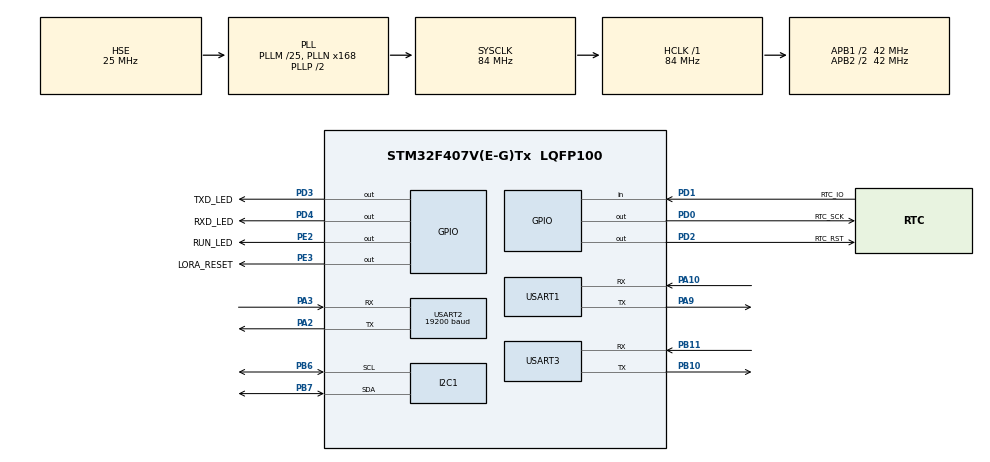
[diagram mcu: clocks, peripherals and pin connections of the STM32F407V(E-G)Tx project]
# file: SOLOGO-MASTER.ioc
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Dma.Request0=USART3_RX
Dma.USART3_RX.0.Direction=DMA_PERIPH_TO_MEMORY
Dma.USART3_RX.0.FIFOMode=DMA_FIFOMODE_DISABLE
Dma.USART3_RX.0.Instance=DMA1_Stream1
Dma.USART3_RX.0.MemDataAlignment=DMA_MDATAALIGN_BYTE
Dma.USART3_RX.0.MemInc=DMA_MINC_ENABLE
Dma.USART3_RX.0.Mode=DMA_CIRCULAR
Dma.USART3_RX.0.PeriphDataAlignment=DMA_PDATAALIGN_BYTE
Dma.USART3_RX.0.PeriphInc=DMA_PINC_DISABLE
Dma.USART3_RX.0.Priority=DMA_PRIORITY_MEDIUM
IWDG.Prescaler=IWDG_PRESCALER_32
Mcu.Family=STM32F4
Mcu.Name=STM32F407V(E-G)Tx
Mcu.Package=LQFP100
NVIC.DMA1_Stream1_IRQn=true\:0\:0\:false\:false\:true\:false\:true\:true
NVIC.PriorityGroup=NVIC_PRIORITYGROUP_4
NVIC.TIM3_IRQn=true\:0\:0\:true\:false\:true\:true\:true\:true
NVIC.USART1_IRQn=true\:0\:0\:false\:false\:true\:true\:true\:true
NVIC.USART2_IRQn=true\:0\:0\:false\:false\:true\:true\:true\:true
PA10.Mode=Asynchronous
PA10.Signal=USART1_RX
PA13.Signal=SYS_JTMS-SWDIO
PA14.Signal=SYS_JTCK-SWCLK
PA2.Mode=Asynchronous
PA2.Signal=USART2_TX
PA3.Mode=Asynchronous
PA3.Signal=USART2_RX
PA9.Mode=Asynchronous
PA9.Signal=USART1_TX
PB10.Mode=Asynchronous
PB10.Signal=USART3_TX
PB11.Mode=Asynchronous
PB11.Signal=USART3_RX
PB6.Mode=I2C
PB6.Signal=I2C1_SCL
PB7.Mode=I2C
PB7.Signal=I2C1_SDA
PD0.GPIO_Label=RTC_SCK
PD0.Signal=GPIO_Output
PD1.GPIO_Label=RTC_IO
PD1.Signal=GPIO_Input
PD2.GPIO_Label=RTC_RST
PD2.Signal=GPIO_Output
PD3.GPIO_Label=TXD_LED
PD3.Signal=GPIO_Output
PD4.GPIO_Label=RXD_LED
PD4.Signal=GPIO_Output
PE2.GPIO_Label=RUN_LED
PE2.Signal=GPIO_Output
PE3.GPIO_Label=LORA_RESET
PE3.Signal=GPIO_Output
PH0-OSC_IN.Mode=HSE-External-Oscillator
PH0-OSC_IN.Signal=RCC_OSC_IN
PH1-OSC_OUT.Mode=HSE-External-Oscillator
PH1-OSC_OUT.Signal=RCC_OSC_OUT
ProjectManager.HeapSize=0x200
ProjectManager.StackSize=0x400
ProjectManager.TargetToolchain=STM32CubeIDE
RCC.48MHZClocksFreq_Value=42000000
RCC.AHBFreq_Value=84000000
RCC.APB1CLKDivider=RCC_HCLK_DIV2
RCC.APB1Freq_Value=42000000
RCC.APB1TimFreq_Value=84000000
RCC.APB2CLKDivider=RCC_HCLK_DIV2
RCC.APB2Freq_Value=42000000
RCC.APB2TimFreq_Value=84000000
RCC.CortexFreq_Value=84000000
RCC.HCLKFreq_Value=84000000
RCC.HSE_VALUE=25000000
RCC.HSI_VALUE=16000000
RCC.LSE_VALUE=32768
RCC.PLLM=25
RCC.PLLN=168
RCC.PLLSourceVirtual=RCC_PLLSOURCE_HSE
RCC.SYSCLKFreq_VALUE=84000000
RCC.SYSCLKSource=RCC_SYSCLKSOURCE_PLLCLK
RCC.VCOOutputFreq_Value=168000000
TIM3.AutoReloadPreload=TIM_AUTORELOAD_PRELOAD_ENABLE
TIM3.Period=1000
TIM3.Prescaler=84-1
USART1.VirtualMode=VM_ASYNC
USART2.BaudRate=19200
USART2.VirtualMode=VM_ASYNC
USART3.VirtualMode=VM_ASYNC
VP_IWDG_VS_IWDG.Mode=IWDG_Activate
VP_TIM3_VS_ClockSourceINT.Mode=Internal
board=custom

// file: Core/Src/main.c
/* USER CODE BEGIN Header */
/**
  ******************************************************************************
  * @file           : main.c
  * @brief          : Main program body
  ******************************************************************************
  * @attention
  *
  * Copyright (c) 2023 STMicroelectronics.
  * All rights reserved.
  *
  * This software is licensed under terms that can be found in the LICENSE file
  * in the root directory of this software component.
  * If no LICENSE file comes with this software, it is provided AS-IS.
  *
  ******************************************************************************
  */
/* USER CODE END Header */
#include "main.h"

I2C_HandleTypeDef hi2c1;

IWDG_HandleTypeDef hiwdg;

TIM_HandleTypeDef htim3;

UART_HandleTypeDef huart1;
UART_HandleTypeDef huart2;
UART_HandleTypeDef huart3;
DMA_HandleTypeDef hdma_usart3_rx;

/* USER CODE BEGIN PV */
uint32_t systemTick = 0;
volatile uint32_t SYSTICK_Chk[SYSTICK_NUM_INT];
extern uint8_t rx_dma_buf[LINE_BUFFER_MAX];
//extern MODBUS modbus;

/* USER CODE END PV */

void SystemClock_Config(void);
static void MX_GPIO_Init(void);
static void MX_DMA_Init(void);
static void MX_USART1_UART_Init(void);
static void MX_USART3_UART_Init(void);
static void MX_IWDG_Init(void);
static void MX_I2C1_Init(void);
static void MX_USART2_UART_Init(void);
static void MX_TIM3_Init(void);

/* USER CODE BEGIN 0 */
uint32_t microGetSystemTime(void);
void BSP_Init(void);

/* USER CODE END 0 */

int main(void)
{

  /* MCU Configuration--------------------------------------------------------*/

  /* Reset of all peripherals, Initializes the Flash interface and the Systick. */
  HAL_Init();

  /* Configure the system clock */
  SystemClock_Config();

  /* Initialize all configured peripherals */
  MX_GPIO_Init();
  MX_DMA_Init();
  MX_USART1_UART_Init();
  MX_USART3_UART_Init();
  MX_IWDG_Init();
  MX_I2C1_Init();
  MX_USART2_UART_Init();
  MX_TIM3_Init();
  /* USER CODE BEGIN 2 */

	if(__HAL_RCC_GET_FLAG(RCC_FLAG_IWDGRST) == SET) {
		Printf_("Watch dog reset\r\n");

		__HAL_RCC_CLEAR_RESET_FLAGS();
	}
	else	 {
	  Printf_("Power on reset\r\n");
	}

	__HAL_UART_ENABLE_IT(&huart1, UART_IT_RXNE);
	__HAL_UART_ENABLE_IT(&huart2, UART_IT_RXNE);
	//__HAL_UART_ENABLE_IT(&huart3, UART_IT_RXNE);
	//__HAL_UART_ENABLE_IT(&huart3, UART_IT_IDLE);
	HAL_UART_Receive_DMA(&huart3, rx_dma_buf, LINE_BUFFER_MAX);

	HAL_TIM_Base_Start_IT(&htim3);

	BSP_Init();

  /* USER CODE END 2 */

  /* Infinite loop */
  /* USER CODE BEGIN WHILE */
  while (1)
  {
		HAL_IWDG_Refresh(&hiwdg);

		applicationTick();
		Terminal_Services_Function();
		LORA_ServiceFunction();
		Modbus_Event();
		UART_RX_DMA_Handler();

    /* USER CODE END WHILE */

  }
}

void SystemClock_Config(void)
{
  RCC_OscInitTypeDef RCC_OscInitStruct = {0};
  RCC_ClkInitTypeDef RCC_ClkInitStruct = {0};

  /** Configure the main internal regulator output voltage
  */
  __HAL_RCC_PWR_CLK_ENABLE();
  __HAL_PWR_VOLTAGESCALING_CONFIG(PWR_REGULATOR_VOLTAGE_SCALE1);

  /** Initializes the RCC Oscillators according to the specified parameters
  * in the RCC_OscInitTypeDef structure.
  */
  RCC_OscInitStruct.OscillatorType = RCC_OSCILLATORTYPE_LSI|RCC_OSCILLATORTYPE_HSE;
  RCC_OscInitStruct.HSEState = RCC_HSE_ON;
  RCC_OscInitStruct.LSIState = RCC_LSI_ON;
  RCC_OscInitStruct.PLL.PLLState = RCC_PLL_ON;
  RCC_OscInitStruct.PLL.PLLSource = RCC_PLLSOURCE_HSE;
  RCC_OscInitStruct.PLL.PLLM = 25;
  RCC_OscInitStruct.PLL.PLLN = 168;
  RCC_OscInitStruct.PLL.PLLP = RCC_PLLP_DIV2;
  RCC_OscInitStruct.PLL.PLLQ = 4;
  if (HAL_RCC_OscConfig(&RCC_OscInitStruct) != HAL_OK)
  {
    Error_Handler();
  }

  /** Initializes the CPU, AHB and APB buses clocks
  */
  RCC_ClkInitStruct.ClockType = RCC_CLOCKTYPE_HCLK|RCC_CLOCKTYPE_SYSCLK
                              |RCC_CLOCKTYPE_PCLK1|RCC_CLOCKTYPE_PCLK2;
  RCC_ClkInitStruct.SYSCLKSource = RCC_SYSCLKSOURCE_PLLCLK;
  RCC_ClkInitStruct.AHBCLKDivider = RCC_SYSCLK_DIV1;
  RCC_ClkInitStruct.APB1CLKDivider = RCC_HCLK_DIV2;
  RCC_ClkInitStruct.APB2CLKDivider = RCC_HCLK_DIV2;

  if (HAL_RCC_ClockConfig(&RCC_ClkInitStruct, FLASH_LATENCY_2) != HAL_OK)
  {
    Error_Handler();
  }
}

static void MX_I2C1_Init(void)
{

  hi2c1.Instance = I2C1;
  hi2c1.Init.ClockSpeed = 100000;
  hi2c1.Init.DutyCycle = I2C_DUTYCYCLE_2;
  hi2c1.Init.OwnAddress1 = 0;
  hi2c1.Init.AddressingMode = I2C_ADDRESSINGMODE_7BIT;
  hi2c1.Init.DualAddressMode = I2C_DUALADDRESS_DISABLE;
  hi2c1.Init.OwnAddress2 = 0;
  hi2c1.Init.GeneralCallMode = I2C_GENERALCALL_DISABLE;
  hi2c1.Init.NoStretchMode = I2C_NOSTRETCH_DISABLE;
  if (HAL_I2C_Init(&hi2c1) != HAL_OK)
  {
    Error_Handler();
  }

}

static void MX_IWDG_Init(void)
{

  hiwdg.Instance = IWDG;
  hiwdg.Init.Prescaler = IWDG_PRESCALER_32;
  hiwdg.Init.Reload = 4095;
  if (HAL_IWDG_Init(&hiwdg) != HAL_OK)
  {
    Error_Handler();
  }

}

static void MX_TIM3_Init(void)
{

  TIM_ClockConfigTypeDef sClockSourceConfig = {0};
  TIM_MasterConfigTypeDef sMasterConfig = {0};

  htim3.Instance = TIM3;
  htim3.Init.Prescaler = 84-1;
  htim3.Init.CounterMode = TIM_COUNTERMODE_UP;
  htim3.Init.Period = 1000;
  htim3.Init.ClockDivision = TIM_CLOCKDIVISION_DIV1;
  htim3.Init.AutoReloadPreload = TIM_AUTORELOAD_PRELOAD_ENABLE;
  if (HAL_TIM_Base_Init(&htim3) != HAL_OK)
  {
    Error_Handler();
  }
  sClockSourceConfig.ClockSource = TIM_CLOCKSOURCE_INTERNAL;
  if (HAL_TIM_ConfigClockSource(&htim3, &sClockSourceConfig) != HAL_OK)
  {
    Error_Handler();
  }
  sMasterConfig.MasterOutputTrigger = TIM_TRGO_RESET;
  sMasterConfig.MasterSlaveMode = TIM_MASTERSLAVEMODE_DISABLE;
  if (HAL_TIMEx_MasterConfigSynchronization(&htim3, &sMasterConfig) != HAL_OK)
  {
    Error_Handler();
  }

}

static void MX_USART1_UART_Init(void)
{

  huart1.Instance = USART1;
  huart1.Init.BaudRate = 115200;
  huart1.Init.WordLength = UART_WORDLENGTH_8B;
  huart1.Init.StopBits = UART_STOPBITS_1;
  huart1.Init.Parity = UART_PARITY_NONE;
  huart1.Init.Mode = UART_MODE_TX_RX;
  huart1.Init.HwFlowCtl = UART_HWCONTROL_NONE;
  huart1.Init.OverSampling = UART_OVERSAMPLING_16;
  if (HAL_UART_Init(&huart1) != HAL_OK)
  {
    Error_Handler();
  }

}

static void MX_USART2_UART_Init(void)
{

  huart2.Instance = USART2;
  huart2.Init.BaudRate = 19200;
  huart2.Init.WordLength = UART_WORDLENGTH_8B;
  huart2.Init.StopBits = UART_STOPBITS_1;
  huart2.Init.Parity = UART_PARITY_NONE;
  huart2.Init.Mode = UART_MODE_TX_RX;
  huart2.Init.HwFlowCtl = UART_HWCONTROL_NONE;
  huart2.Init.OverSampling = UART_OVERSAMPLING_16;
  if (HAL_UART_Init(&huart2) != HAL_OK)
  {
    Error_Handler();
  }

}

static void MX_USART3_UART_Init(void)
{

  huart3.Instance = USART3;
  huart3.Init.BaudRate = 115200;
  huart3.Init.WordLength = UART_WORDLENGTH_8B;
  huart3.Init.StopBits = UART_STOPBITS_1;
  huart3.Init.Parity = UART_PARITY_NONE;
  huart3.Init.Mode = UART_MODE_TX_RX;
  huart3.Init.HwFlowCtl = UART_HWCONTROL_NONE;
  huart3.Init.OverSampling = UART_OVERSAMPLING_16;
  if (HAL_UART_Init(&huart3) != HAL_OK)
  {
    Error_Handler();
  }

}

static void MX_DMA_Init(void)
{

  /* DMA controller clock enable */
  __HAL_RCC_DMA1_CLK_ENABLE();

  /* DMA interrupt init */
  /* DMA1_Stream1_IRQn interrupt configuration */
  HAL_NVIC_SetPriority(DMA1_Stream1_IRQn, 0, 0);
  HAL_NVIC_EnableIRQ(DMA1_Stream1_IRQn);

}

static void MX_GPIO_Init(void)
{
  GPIO_InitTypeDef GPIO_InitStruct = {0};

  /* GPIO Ports Clock Enable */
  __HAL_RCC_GPIOE_CLK_ENABLE();
  __HAL_RCC_GPIOH_CLK_ENABLE();
  __HAL_RCC_GPIOA_CLK_ENABLE();
  __HAL_RCC_GPIOB_CLK_ENABLE();
  __HAL_RCC_GPIOD_CLK_ENABLE();

  /*Configure GPIO pin Output Level */
  HAL_GPIO_WritePin(GPIOE, RUN_LED_Pin|LORA_RESET_Pin, GPIO_PIN_RESET);

  /*Configure GPIO pin Output Level */
  HAL_GPIO_WritePin(GPIOD, RTC_SCK_Pin|RTC_RST_Pin|TXD_LED_Pin|RXD_LED_Pin, GPIO_PIN_RESET);

  /*Configure GPIO pins : RUN_LED_Pin LORA_RESET_Pin */
  GPIO_InitStruct.Pin = RUN_LED_Pin|LORA_RESET_Pin;
  GPIO_InitStruct.Mode = GPIO_MODE_OUTPUT_PP;
  GPIO_InitStruct.Pull = GPIO_NOPULL;
  GPIO_InitStruct.Speed = GPIO_SPEED_FREQ_LOW;
  HAL_GPIO_Init(GPIOE, &GPIO_InitStruct);

  /*Configure GPIO pins : RTC_SCK_Pin RTC_RST_Pin TXD_LED_Pin RXD_LED_Pin */
  GPIO_InitStruct.Pin = RTC_SCK_Pin|RTC_RST_Pin|TXD_LED_Pin|RXD_LED_Pin;
  GPIO_InitStruct.Mode = GPIO_MODE_OUTPUT_PP;
  GPIO_InitStruct.Pull = GPIO_NOPULL;
  GPIO_InitStruct.Speed = GPIO_SPEED_FREQ_LOW;
  HAL_GPIO_Init(GPIOD, &GPIO_InitStruct);

  /*Configure GPIO pin : RTC_IO_Pin */
  GPIO_InitStruct.Pin = RTC_IO_Pin;
  GPIO_InitStruct.Mode = GPIO_MODE_INPUT;
  GPIO_InitStruct.Pull = GPIO_NOPULL;
  HAL_GPIO_Init(RTC_IO_GPIO_Port, &GPIO_InitStruct);

}

/* USER CODE BEGIN 4 */
//********************************************************************
// USER APP INIT
//********************************************************************
void BSP_Init(void)
{
	TRX_LedInit();
	compileInfo(0,0);
	UartInit();
	LORA_BuffInit();
	loraGetBinding(BINDING_TABLE_SIZE);
	Modbus_Init();
}

//*************************************************************************
//EXIT timer set
//*************************************************************************
void ExitTimerSet(void)
{
  SYSTICK_Chk[SYSTICK_Delay_0] = 60000*1; //60000*1
}

//*************************************************************************
//EXIT timer exit
//*************************************************************************
uint8_t ExitTimerChekck(void)
{
  if(SYSTICK_Chk[SYSTICK_Delay_0] == 0)
		return 1;
  else
		return 0;
}

//********************************************************************
// SYSTEM TICK
//********************************************************************
uint32_t microGetSystemTime(void)
{
  return systemTick;
}

//*************************************************************************
// EXIT timer reduce
//*************************************************************************
void SysTick_TimingDecrement(void)
{
	uint8_t  i;
	for ( i = 0 ; i < SYSTICK_NUM_INT ; i++) {
		if (SYSTICK_Chk[i] != 0 ) {
			SYSTICK_Chk[i]--;
		}
	}
}

void HAL_SYSTICK_Callback(void)
{
	systemTick++;

	SysTick_TimingDecrement();
}

void HAL_3usDelay(uint16_t us)
{
	uint16_t i;
	uint16_t j;

	for(i=0; i<us; i++) {
		for(j=0; j<1; j++);
	}
}

void HAL_WatchDogReload(void)
{
	HAL_IWDG_Refresh(&hiwdg);
}

/* USER CODE END 4 */

void Error_Handler(void)
{
  __disable_irq();
  while (1)
  {
  }
}
